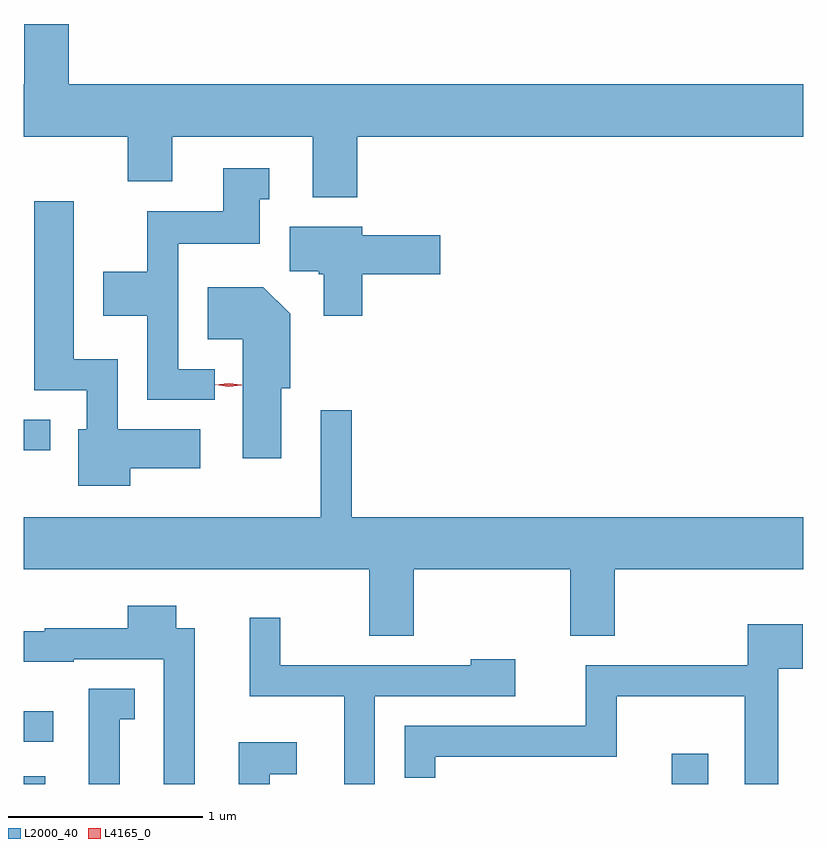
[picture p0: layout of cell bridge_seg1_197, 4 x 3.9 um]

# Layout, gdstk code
import gdstk
lib = gdstk.Library(unit=1e-6, precision=1e-09)
def R(c, l, rs):  # rectangles x0, y0, x1, y1
    for r in rs: c.add(gdstk.rectangle(r[:2], r[2:], *l))
def P(c, l, *ps):  # polygons
    for p in ps: c.add(gdstk.Polygon(p, *l))
L2000_40 = (2000, 40)
L4165_0 = (4165, 0)

bridge_seg1_197 = lib.new_cell('bridge_seg1_197')
R(bridge_seg1_197, L2000_40, [(661.087,905.135,661.199,905.174), (664.411,905.135,664.599,905.289), (661.087,905.351,661.238,905.509), (661.087,906.846,661.223,907.004)])
P(bridge_seg1_197, L2000_40, [(662.799,908.456),(665.087,908.456),(665.087,908.724),(661.319,908.724),(661.319,909.034),(661.091,909.034),(661.091,908.724),(661.087,908.724),(661.087,908.456),(661.621,908.456),(661.621,908.226),(661.849,908.226),(661.849,908.456),(662.571,908.456),(662.571,908.146),(662.799,908.146)],
  [(662.068,907.264),(661.879,907.264),(661.879,907.906),(662.299,907.906),(662.299,908.136),(662.348,908.136),(662.348,908.294),(662.111,908.294),(662.111,908.074),(661.721,908.074),(661.721,907.764),(661.496,907.764),(661.496,907.536),(661.721,907.536),(661.721,907.106),(662.068,907.106)],
  [(661.634,906.756),(661.994,906.756),(661.994,906.954),(661.569,906.954),(661.569,907.314),(661.344,907.314),(661.344,908.124),(661.141,908.124),(661.141,907.156),(661.411,907.156),(661.411,906.954),(661.366,906.954),(661.366,906.666),(661.634,906.666)],
  [(662.824,907.751),(663.224,907.751),(663.224,907.949),(662.824,907.949),(662.824,907.994),(662.451,907.994),(662.451,907.766),(662.6,907.766),(662.6,907.751),(662.626,907.751),(662.626,907.536),(662.824,907.536)],
  [(662.409,907.166),(662.454,907.166),(662.454,907.547),(662.317,907.684),(662.031,907.684),(662.031,907.416),(662.211,907.416),(662.211,906.806),(662.409,906.806)],
  [(663.089,906.236),(663.891,906.236),(663.891,905.896),(664.119,905.896),(664.119,906.236),(665.087,906.236),(665.087,906.504),(662.769,906.504),(662.769,907.053),(662.611,907.053),(662.611,906.504),(661.087,906.504),(661.087,906.236),(662.861,906.236),(662.861,905.896),(663.089,905.896)],
  [(661.964,905.934),(661.869,905.934),(661.869,906.049),(661.621,906.049),(661.621,905.934),(661.195,905.934),(661.195,905.919),(661.087,905.919),(661.087,905.761),(661.345,905.761),(661.345,905.776),(661.806,905.776),(661.806,905.135),(661.964,905.135)],
  [(662.889,905.586),(663.609,905.586),(663.609,905.774),(663.381,905.774),(663.381,905.744),(662.404,905.744),(662.404,905.988),(662.246,905.988),(662.246,905.586),(662.731,905.586),(662.731,905.135),(662.889,905.135)],
  [(664.959,905.726),(665.084,905.726),(665.084,905.954),(664.801,905.954),(664.801,905.744),(663.971,905.744),(663.971,905.434),(663.041,905.434),(663.041,905.168),(663.199,905.168),(663.199,905.276),(664.129,905.276),(664.129,905.586),(664.786,905.586),(664.786,905.135),(664.959,905.135)],
  [(661.579,905.466),(661.658,905.466),(661.658,905.624),(661.421,905.624),(661.421,905.135),(661.579,905.135)],
  [(662.349,905.186),(662.488,905.186),(662.488,905.349),(662.191,905.349),(662.191,905.135),(662.349,905.135)])
P(bridge_seg1_197, L4165_0, [(662.138,907.172),(662.069,907.182),(662.068,907.182),(662.069,907.183),(662.138,907.192),(662.207,907.182),(662.207,907.181),(662.207,907.181)])

lib.write_gds('bridge_seg1_197.gds')
